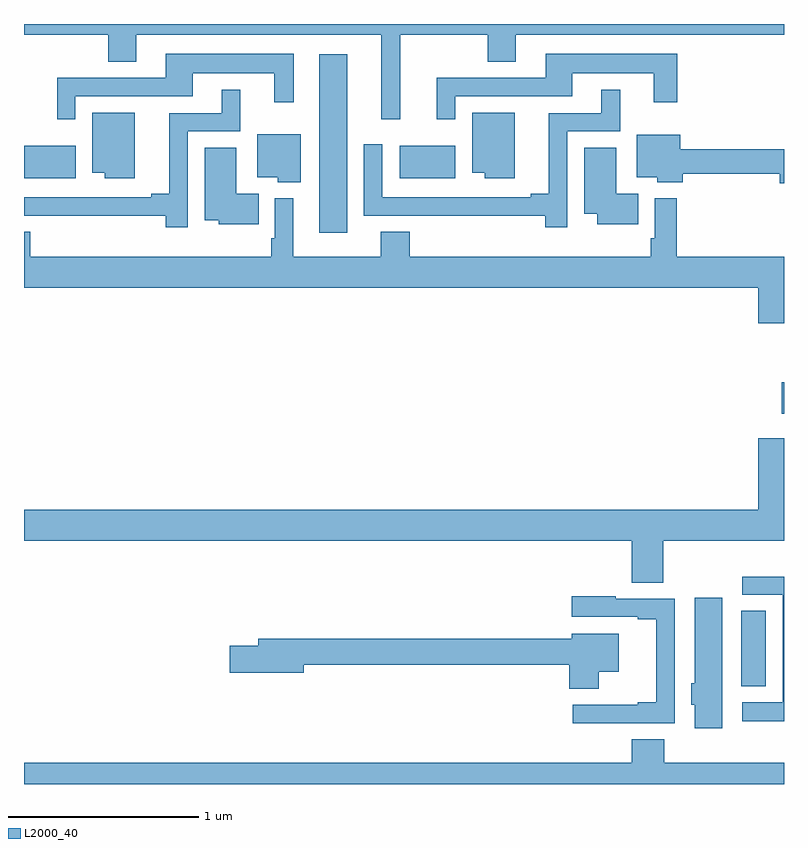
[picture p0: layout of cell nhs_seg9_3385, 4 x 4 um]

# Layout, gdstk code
import gdstk
lib = gdstk.Library(unit=1e-6, precision=1e-09)
def R(c, l, rs):  # rectangles x0, y0, x1, y1
    for r in rs: c.add(gdstk.rectangle(r[:2], r[2:], *l))
def P(c, l, *ps):  # polygons
    for p in ps: c.add(gdstk.Polygon(p, *l))
L2000_40 = (2000, 40)

nhs_seg9_3385 = lib.new_cell('nhs_seg9_3385')
R(nhs_seg9_3385, L2000_40, [(308.774,1169.014,308.905,1169.411), (308.988,1170.449,309,1170.615), (306.554,1171.401,306.7,1172.341), (305,1171.688,305.272,1171.858), (306.977,1171.688,307.27,1171.858)])
P(nhs_seg9_3385, L2000_40, [(305,1172.444),(305.443,1172.444),(305.443,1172.302),(305.59,1172.302),(305.59,1172.444),(306.881,1172.444),(306.881,1171.998),(306.98,1171.998),(306.98,1172.444),(307.441,1172.444),(307.441,1172.302),(307.588,1172.302),(307.588,1172.444),(309,1172.444),(309,1172.5),(305,1172.5)],
  [(307.269,1172.121),(307.885,1172.121),(307.885,1172.24),(308.315,1172.24),(308.315,1172.088),(308.437,1172.088),(308.437,1172.344),(307.745,1172.344),(307.745,1172.217),(307.172,1172.217),(307.172,1171.998),(307.269,1171.998)],
  [(305.271,1172.121),(305.887,1172.121),(305.887,1172.24),(306.317,1172.24),(306.317,1172.088),(306.421,1172.088),(306.421,1172.344),(305.747,1172.344),(305.747,1172.217),(305.174,1172.217),(305.174,1171.998),(305.271,1171.998)],
  [(307.86,1171.935),(308.137,1171.935),(308.137,1172.155),(308.039,1172.155),(308.039,1172.031),(307.763,1172.031),(307.763,1171.607),(307.667,1171.607),(307.667,1171.587),(306.885,1171.587),(306.885,1171.867),(306.789,1171.867),(306.789,1171.491),(307.114,1171.491),(307.114,1171.49),(307.744,1171.49),(307.744,1171.431),(307.86,1171.431)],
  [(305.862,1171.935),(306.139,1171.935),(306.139,1172.155),(306.041,1172.155),(306.041,1172.031),(305.765,1172.031),(305.765,1171.607),(305.669,1171.607),(305.669,1171.587),(305,1171.587),(305,1171.491),(305.116,1171.491),(305.116,1171.49),(305.746,1171.49),(305.746,1171.431),(305.862,1171.431)],
  [(307.582,1172.032),(307.358,1172.032),(307.358,1171.718),(307.424,1171.718),(307.424,1171.688),(307.582,1171.688)],
  [(305.584,1172.032),(305.36,1172.032),(305.36,1171.718),(305.426,1171.718),(305.426,1171.688),(305.584,1171.688)],
  [(306.457,1171.921),(306.227,1171.921),(306.227,1171.694),(306.336,1171.694),(306.336,1171.667),(306.457,1171.667)],
  [(309,1171.841),(308.455,1171.841),(308.455,1171.918),(308.225,1171.918),(308.225,1171.694),(308.334,1171.694),(308.334,1171.667),(308.468,1171.667),(308.468,1171.713),(308.978,1171.713),(308.978,1171.663),(309,1171.663)],
  [(308.234,1171.606),(308.116,1171.606),(308.116,1171.85),(307.949,1171.85),(307.949,1171.502),(308.018,1171.502),(308.018,1171.445),(308.234,1171.445)],
  [(306.236,1171.606),(306.118,1171.606),(306.118,1171.85),(305.951,1171.85),(305.951,1171.466),(306.024,1171.466),(306.024,1171.445),(306.236,1171.445)],
  [(308.864,1170.924),(309,1170.924),(309,1171.276),(308.435,1171.276),(308.435,1171.582),(308.319,1171.582),(308.319,1171.372),(308.299,1171.372),(308.299,1171.276),(307.031,1171.276),(307.031,1171.406),(306.878,1171.406),(306.878,1171.276),(306.418,1171.276),(306.418,1171.582),(306.321,1171.582),(306.321,1171.372),(306.301,1171.372),(306.301,1171.276),(305.033,1171.276),(305.033,1171.406),(305,1171.406),(305,1171.112),(308.864,1171.112)],
  [(308.364,1169.78),(309,1169.78),(309,1170.319),(308.864,1170.319),(308.864,1169.944),(305,1169.944),(305,1169.78),(308.198,1169.78),(308.198,1169.56),(308.364,1169.56)],
  [(309,1169.592),(308.781,1169.592),(308.781,1169.496),(308.994,1169.496),(308.994,1168.929),(308.781,1168.929),(308.781,1168.831),(309,1168.831)],
  [(308.114,1168.821),(308.424,1168.821),(308.424,1169.475),(308.114,1169.475),(308.114,1169.488),(307.884,1169.488),(307.884,1169.379),(308.231,1169.379),(308.231,1169.367),(308.327,1169.367),(308.327,1168.93),(308.231,1168.93),(308.231,1168.917),(307.887,1168.917),(307.887,1168.82),(308.114,1168.82)],
  [(308.674,1169.479),(308.531,1169.479),(308.531,1169.031),(308.513,1169.031),(308.513,1168.917),(308.531,1168.917),(308.531,1168.794),(308.674,1168.794)],
  [(308.025,1169.09),(308.131,1169.09),(308.131,1169.29),(307.883,1169.29),(307.883,1169.264),(306.233,1169.264),(306.233,1169.228),(306.084,1169.228),(306.084,1169.086),(306.472,1169.086),(306.472,1169.128),(307.871,1169.128),(307.871,1169.002),(308.025,1169.002)],
  [(309,1168.612),(308.369,1168.612),(308.369,1168.736),(308.198,1168.736),(308.198,1168.612),(305,1168.612),(305,1168.5),(309,1168.5)])

lib.write_gds('nhs_seg9_3385.gds')
